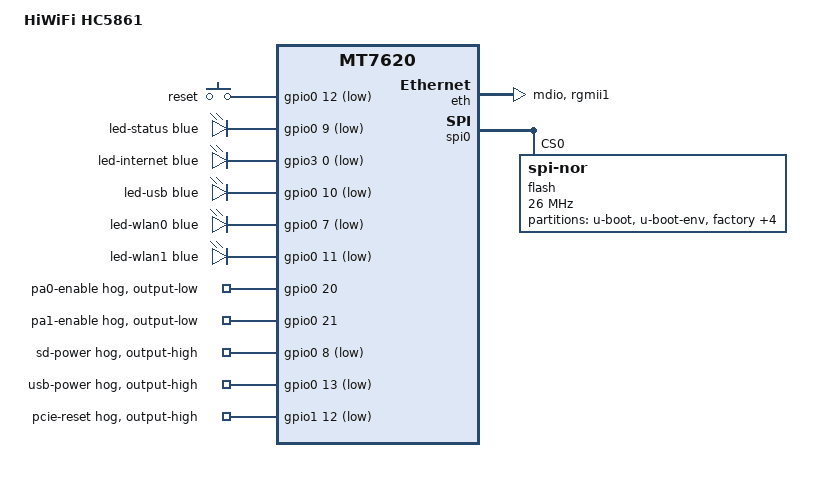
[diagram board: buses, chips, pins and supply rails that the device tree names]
// SPDX-License-Identifier: GPL-2.0-or-later

/dts-v1/;

#include "mt7620.dtsi"

#include <dt-bindings/gpio/gpio.h>
#include <dt-bindings/input/input.h>
#include <dt-bindings/leds/common.h>

/ {
	compatible = "hiwifi,hc5861", "mediatek,mt7620-soc";
	model = "HiWiFi HC5861";

	/delete-node/ clock-48m;
	/delete-node/ serial@10000500;
	/delete-node/ watchdog@10000120;
	/delete-node/ usb-phy;
	/delete-node/ ehci@101c0000;
	/delete-node/ mmc@10130000;

	aliases {
		serial0 = &uartlite;
		spi0 = &spi0;
	};

	chosen {
		stdout-path = "serial0:115200n8";
	};

	gpio-keys {
		compatible = "gpio-keys";

		button-reset {
			label = "reset";
			linux,code = <KEY_RESTART>;
			gpios = <&gpio0 12 GPIO_ACTIVE_LOW>;
		};
	};

	gpio-leds {
		compatible = "gpio-leds";

		led-status {
			color = <LED_COLOR_ID_BLUE>;
			function = LED_FUNCTION_STATUS;
			gpios = <&gpio0 9 GPIO_ACTIVE_LOW>;
			default-state = "on";
		};

		led-internet {
			color = <LED_COLOR_ID_BLUE>;
			function = "internet";
			gpios = <&gpio3 0 GPIO_ACTIVE_LOW>;
			default-state = "off";
		};

		led-usb {
			color = <LED_COLOR_ID_BLUE>;
			function = LED_FUNCTION_USB;
			gpios = <&gpio0 10 GPIO_ACTIVE_LOW>;
			default-state = "off";
		};

		led-wlan0 {
			color = <LED_COLOR_ID_BLUE>;
			function = LED_FUNCTION_WLAN;
			function-enumerator = <0>;
			gpios = <&gpio0 7 GPIO_ACTIVE_LOW>;
			default-state = "off";
		};

		led-wlan1 {
			color = <LED_COLOR_ID_BLUE>;
			function = LED_FUNCTION_WLAN;
			function-enumerator = <1>;
			gpios = <&gpio0 11 GPIO_ACTIVE_LOW>;
			default-state = "off";
		};
	};

	options {
		u-boot {
			compatible = "u-boot,config";
			boot-btn1 = "reset";
			boot-led1 = "blue:status";
			bootcmd_1-1 = "tftp_boot_ik";
			bootcmd_1-2 = "tftp_update_fw";
			bootcmd_1-3 = "switch_console";
			bootcmd_1-4 = "env init";
		};
	};
};

&eth {
	pinctrl-names = "default";
	pinctrl-0 = <&gsw_pins>;

	port5 {
		phy-addr = <5>;
		phy-mode = "rgmii";
	};
};

&gpio0 {
	pa0-enable {
		gpio-hog;
		gpios = <20 GPIO_ACTIVE_HIGH>;
		output-low;
	};

	pa1-enable {
		gpio-hog;
		gpios = <21 GPIO_ACTIVE_HIGH>;
		output-low;
	};

	sd-power {
		gpio-hog;
		gpios = <8 GPIO_ACTIVE_LOW>;
		output-high;
	};

	usb-power {
		gpio-hog;
		gpios = <13 GPIO_ACTIVE_LOW>;
		output-high;
	};
};

&gpio1 {
	pcie-reset {
		gpio-hog;
		gpios = <12 GPIO_ACTIVE_LOW>;
		output-high;
	};
};

&pinctrl {
	pinctrl-0 = <&state_default>, <&sd_pins>;

	/delete-node/ nand_pins;
	/delete-node/ spi_dual_pins;
	/delete-node/ uartf_pins;
	/delete-node/ uartf_pcm_pins;
	/delete-node/ uartf_i2s_pins;
	/delete-node/ uartf_gpio_pins;

	gsw_pins: gsw_pins {
		mdio {
			groups = "mdio";
			function = "mdio";
		};

		rgmii1 {
			groups = "rgmii1";
			function = "rgmii1";
		};
	};
};

&spi0 {
	flash@0 {
		compatible = "jedec,spi-nor";
		reg = <0>;
		spi-max-frequency = <26000000>;

		partitions {
			compatible = "fixed-partitions";
			#address-cells = <1>;
			#size-cells = <1>;

			partition@0 {
				label = "u-boot";
				reg = <0x000000 0x030000>;
			};

			partition@30000 {
				label = "u-boot-env";
				reg = <0x030000 0x010000>;
			};

			partition@40000 {
				label = "factory";
				reg = <0x040000 0x010000>;
			};

			partition@50000 {
				label = "firmware";
				reg = <0x50000 0xf70000>;
			};

			partition@fc0000 {
				label = "oem";
				reg = <0xfc0000 0x020000>;
			};

			partition@fe0000 {
				label = "bdinfo";
				reg = <0xfe0000 0x010000>;
			};

			partition@ff0000 {
				label = "backup";
				reg = <0xff0000 0x010000>;
			};
		};
	};
};

&state_default {
	gpios {
		groups = "i2c", "uartf", "rgmii2", "perst", "pa", "wdt rst", \
			 "wled", "ephy led";
		function = "gpio";
	};
};
